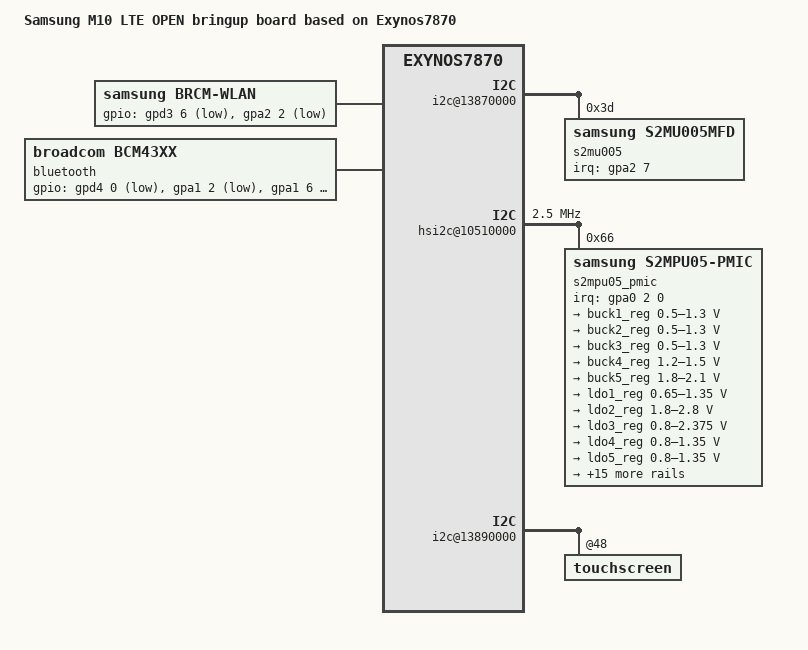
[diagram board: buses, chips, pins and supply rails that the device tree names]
/*
 * SAMSUNG Exynos7870 M10 board device tree source
 *
 * Copyright (c) 2018 Samsung Electronics Co., Ltd.
 *		http://www.samsung.com
 *
 * This program is free software; you can redistribute it and/or modify
 * it under the terms of the GNU General Public License version 2 as
 * published by the Free Software Foundation.
 */

/dts-v1/;
#include "exynos7870-m10lte_common.dtsi"
#include "modem-ss315ap-pdata.dtsi"
#include "exynos7870-m10lte_swa_open_gpio_00.dtsi"
#include "exynos7870-m10lte_swa_open_battery_00.dtsi"
#include "exynos7870-m10lte_sensor_00.dtsi"

/ {
	model = "Samsung M10 LTE OPEN bringup board based on Exynos7870";
	model_info-chip = <7870>;
	model_info-platform = "android";
	model_info-subtype = "samsung";
	model_info-hw_rev = <0>;
	model_info-hw_rev_end = <0>;
	compatible = "samsung, M10 LTE SWA OPEN BRINGUP", "samsung,exynos7870";

	i2c@13870000 {
		status = "okay";
		samsung,i2c-sda-delay = <100>;
		samsung,i2c-max-bus-freq = <400000>;

		s2mu005@3d {
			compatible = "samsung,s2mu005mfd";
			reg = <0x3d>;
			pinctrl-names = "default";
			pinctrl-0 = <&if_pmic_irq>;
			s2mu005,irq-gpio = <&gpa2 7 0>;
			s2mu005,wakeup;

			leds {
				flash-gpio = <&gpd3 2 0>;
				torch-gpio = <&gpd3 3 0>;

				flash_current = <1200>;
				preflash_current = <150>;
				movie_current = <175>; /*unused*/
				torch_current = <75>;
				factory_current = <300>;
				front_torch_current = <125>;

				status = "okay";
				s2mu005-leds1 {
					ledname = "leds-sec1";
					id = <0>;
					timeout = <15>; /* use gpio */
				};

				s2mu005-leds2 {
					ledname = "leds-sec2";
					id = <1>;
					timeout = <15>; /* use gpio */
				};
			};

			leds-rgb {
				led_current_tuning_count = <3>;	/* Number of Supported Panel Tuning */
				led_current_tuning = <
					0x0D6020	/* LCD ID: Gold Color */
					0x28 0x07 0x20   /* B G R LED MAX current for Normal Mode */
					0x28 0x07 0x20   /* B G R LED MAX current for Low power mode */
					0x0D6120	/* White Color */
					0x27 0x07 0x1E
					0x27 0x07 0x1E
					0x0D6220	/* Black Color */
					0x5C 0x0D 0x28
					0x5C 0x0D 0x28
					>;
			};

			muic {
				new_factory;
			};
		};
	};

	hsi2c@10510000 {
		status = "okay";
		samsung,hs-mode;
		clock-frequency = <2500000>;
		samsung,hsi2c-batcher;
		#address-cells = <1>;
		#size-cells = <0>;

		s2mpu05_pmic@66 {
			compatible = "samsung,s2mpu05-pmic";
			reg = <0x66>;
			ten-bit-address;
			interrupts = <2 0 0>;
			interrupt-parent = <&gpa0>;
			pinctrl-names = "default";
			pinctrl-0 = <&pmic_irq &pm_wrsti>;
			g3d_en = <1>; /* 1 : enable , 0 : disable */
			buck2en_pin = "etc1-3";
			buck2en_addr = "139B0080.pinctrl";
			/* RTC: wtsr/smpl */
			wtsr_en = <1>; /* enable */
			smpl_en = <1>; /* enable */
			wtsr_timer_val = <3>;   /* 1000ms */
			smpl_timer_val = <0>;   /* 100ms */
			check_jigon = <0>; /* do not check jigon */
			/* RTC: If it's first boot, reset rtc to 1/1/2018 12:00:00(Mon) */
			init_time,sec = <0>;
			init_time,min = <0>;
			init_time,hour = <12>;
			init_time,mday = <1>;
			init_time,mon = <0>;
			init_time,year = <118>;
			init_time,wday = <1>;

			regulators {
				buck1_reg: BUCK1 {
					regulator-name = "BUCK1";
					regulator-min-microvolt = <500000>;
					regulator-max-microvolt = <1300000>;
					regulator-always-on;
					regulator-boot-on;
					regulator-ramp-delay = <12000>;
					regulator-initial-mode = <1>;
					regulator-expected-consumer = <2>;
				};

				buck2_reg: BUCK2 {
					regulator-name = "BUCK2";
					regulator-min-microvolt = <500000>;
					regulator-max-microvolt = <1300000>;
					regulator-always-on;
					regulator-boot-on;
					regulator-ramp-delay = <12000>;
					regulator-initial-mode = <2>;		/* MIF mode */
					regulator-expected-consumer = <4>;
				};

				buck3_reg: BUCK3 {
					regulator-name = "BUCK3";
					regulator-min-microvolt = <500000>;
					regulator-max-microvolt = <1300000>;
					regulator-always-on;
					regulator-boot-on;
					regulator-ramp-delay = <12000>;
					regulator-initial-mode = <2>;
				};

				buck4_reg: BUCK4 {
					regulator-name = "BUCK4";
					regulator-min-microvolt = <1200000>;
					regulator-max-microvolt = <1500000>;
					regulator-always-on;
					regulator-boot-on;
					regulator-ramp-delay = <12000>;
					regulator-initial-mode = <2>;
				};

				buck5_reg: BUCK5 {
					regulator-name = "BUCK5";
					regulator-min-microvolt = <1800000>;
					regulator-max-microvolt = <2100000>;
					regulator-always-on;
					regulator-boot-on;
					regulator-ramp-delay = <12000>;
					regulator-initial-mode = <2>;
				};

				ldo1_reg: LDO1 {
					regulator-name = "vdd_ldo1";
					regulator-min-microvolt = <650000>;
					regulator-max-microvolt = <1350000>;
					regulator-always-on;
					regulator-boot-on;
					regulator-ramp-delay = <12000>;
					regulator-initial-mode = <3>;
				};

				ldo2_reg: LDO2 {
					regulator-name = "vqmmc";
					regulator-min-microvolt = <1800000>;
					regulator-max-microvolt = <2800000>;
					regulator-ramp-delay = <12000>;
					regulator-initial-mode = <0>;
				};

				ldo3_reg: LDO3 {
					regulator-name = "vdd_ldo3";
					regulator-min-microvolt = <800000>;
					regulator-max-microvolt = <2375000>;
					regulator-boot-on;
					regulator-always-on;
					regulator-ramp-delay = <12000>;
					regulator-initial-mode = <3>;
				};

				ldo4_reg: LDO4 {
					regulator-name = "vdd_ldo4";
					regulator-min-microvolt = <800000>;
					regulator-max-microvolt = <1350000>;
					regulator-boot-on;
					regulator-always-on;
					regulator-ramp-delay = <12000>;
					regulator-initial-mode = <1>;
				};

				ldo5_reg: LDO5 {
					regulator-name = "vdd_ldo5";
					regulator-min-microvolt = <800000>;
					regulator-max-microvolt = <1350000>;
					regulator-boot-on;
					regulator-always-on;
					regulator-ramp-delay = <12000>;
					regulator-initial-mode = <3>;
				};

				ldo6_reg: LDO6 {
					regulator-name = "vdd_ldo6";
					regulator-min-microvolt = <800000>;
					regulator-max-microvolt = <1350000>;
					regulator-boot-on;
					regulator-always-on;
					regulator-ramp-delay = <12000>;
					regulator-initial-mode = <1>;
				};

				ldo7_reg: LDO7 {
					regulator-name = "vdd_ldo7";
					regulator-min-microvolt = <800000>;
					regulator-max-microvolt = <2375000>;
					regulator-boot-on;
					regulator-always-on;
					regulator-ramp-delay = <12000>;
					regulator-initial-mode = <1>;
				};

				ldo8_reg: LDO8 {
					regulator-name = "vdd_ldo8";
					regulator-min-microvolt = <1800000>;
					regulator-max-microvolt = <3375000>;
					regulator-boot-on;
					regulator-always-on;
					regulator-ramp-delay = <12000>;
					regulator-initial-mode = <1>;
				};

				ldo9_reg: LDO9 {
					regulator-name = "vdd_ldo9";
					regulator-min-microvolt = <650000>;
					regulator-max-microvolt = <1350000>;
					regulator-always-on;
					regulator-ramp-delay = <12000>;
					regulator-initial-mode = <1>;
				};

				ldo10_reg: LDO10 {
					regulator-name = "vdd_ldo10";
					regulator-min-microvolt = <650000>;
					regulator-max-microvolt = <1350000>;
					regulator-always-on;
					regulator-ramp-delay = <12000>;
					regulator-initial-mode = <1>;
				};

				ldo25_reg: LDO25 {
					regulator-name = "vdd_ldo25";
					regulator-min-microvolt = <800000>;
					regulator-max-microvolt = <2375000>;
					regulator-ramp-delay = <12000>;
					regulator-initial-mode = <1>;
				};

				ldo26_reg: LDO26 {
					regulator-name = "vemmc";
					regulator-min-microvolt = <1800000>;
					regulator-max-microvolt = <3375000>;
					regulator-boot-on;
					regulator-ramp-delay = <12000>;
					regulator-initial-mode = <3>;
				};

				ldo27_reg: LDO27 {
					regulator-name = "vqemmc";
					regulator-min-microvolt = <800000>;
					regulator-max-microvolt = <2375000>;
					regulator-boot-on;
					regulator-ramp-delay = <12000>;
					regulator-initial-mode = <3>;
				};

				ldo29_reg: LDO29 {
					regulator-name = "VDD_SENSOR_3P3";
					regulator-min-microvolt = <3300000>;
					regulator-max-microvolt = <3300000>;
					regulator-boot-on;
					regulator-always-on;
					regulator-initial-mode = <3>;
				};

				ldo30_reg: LDO30 {
					regulator-name = "LCD_1P8";
					regulator-min-microvolt = <1800000>;
					regulator-max-microvolt = <1800000>;
					regulator-boot-on;
					regulator-initial-mode = <3>;
				};

				ldo31_reg: LDO31 {
					regulator-name = "vdd_ldo31";
					regulator-min-microvolt = <2800000>;
					regulator-max-microvolt = <2800000>;
					regulator-boot-on;
					regulator-always-on;
					regulator-ramp-delay = <12000>;
					regulator-initial-mode = <3>;
				};

				ldo32_reg: LDO32 {
					regulator-name = "VDD_MOTOR_3.3";
					regulator-min-microvolt = <3300000>;
					regulator-max-microvolt = <3300000>;
					regulator-ramp-delay = <12000>;
				};

				ldo33_reg: LDO33 {
					regulator-name = "VDD_ALS_3P3";
					regulator-min-microvolt = <3300000>;
					regulator-max-microvolt = <3300000>;
					regulator-boot-on;
					regulator-always-on;
					regulator-ramp-delay = <12000>;
					regulator-initial-mode = <3>;
				};

				ldo34_reg: LDO34 {
					regulator-name = "tsp_avdd";
					regulator-min-microvolt = <3300000>;
					regulator-max-microvolt = <3300000>;
				};

				ldo35_reg: LDO35 {
					regulator-name = "vtouch_2.8v";
					regulator-min-microvolt = <2800000>;
					regulator-max-microvolt = <2800000>;
					regulator-boot-on;
					regulator-ramp-delay = <12000>;
					regulator-initial-mode = <3>;
				};
			};
		};
	};

	i2c@13850000 {
		status = "disable";
	};

	wlan {
		compatible = "samsung,brcm-wlan";
		gpios = <&gpd3 6 0x1 /* WLAN_EN */
			&gpa2 2 0x1>; /* WLAN_HOST_WAKE */
		pinctrl-names = "default";
		pinctrl-0 = <&cfg_wlanen &cfg_wlanhostwake>;
		status = "okay";
	};

	pinctrl@13750000 {
		sd1_bus1: sd1-bus-width1 {
			samsung,pin-pud = <3>;
		};

		sd1_bus4: sd1-bus-width4 {
			samsung,pin-pud = <3>;
		};
	};

	dwmmc2@13560000 {
		skip-init-mmc-scan;
	};

	bluetooth {
		compatible = "broadcom,bcm43xx";
		gpios = <&gpd4 0 0x1	/*BT_EN*/
			&gpa1 2 0x1	/*BT_WAKE*/
			&gpa1 6 0xF	/*BT_HOST_WAKE*/ >;
		pinctrl-names = "default";
		pinctrl-0=<&bt_hostwake_bcm &bt_btwake_bcm &bt_en_bcm>;
		status = "okay";
	};

	pinctrl@139F0000 {
		bt_btwake_bcm: bt-btwake {
			samsung,pins = "gpa1-2";
			samsung,pin-function = <1>;
			samsung,pin-pud = <0>;
			samsung,pin-con-pdn = <3>;
			samsung,pin-pud-pdn = <0>;
		};

		bt_hostwake_bcm: bt-hostwake {
			samsung,pins = "gpa1-6";
			samsung,pin-function = <0>;
			samsung,pin-pud = <0>;
			samsung,pin-con-pdn = <2>;
			samsung,pin-pud-pdn = <0>;
		};

	};

	pinctrl@139B0000 {
		/delete-node/ ese_pvdd_en;

		bt_en_bcm: bt-en {
			samsung,pins = "gpd4-0";
			samsung,pin-function = <1>;
			samsung,pin-pud = <0>;
			samsung,pin-con-pdn = <3>;
			samsung,pin-pud-pdn = <0>;
		};
	};

	fimc_is_module_2p6: fimc-is_sensor_2p6@10 {
		gpio_cam_core_en = <&gpc8 0 0x1>; /* VTCAM_CORE_EN */
	};

	i2c@13890000 {
		touchscreen@48 {
			sec,bringup = <1>;
		};
	};

};
